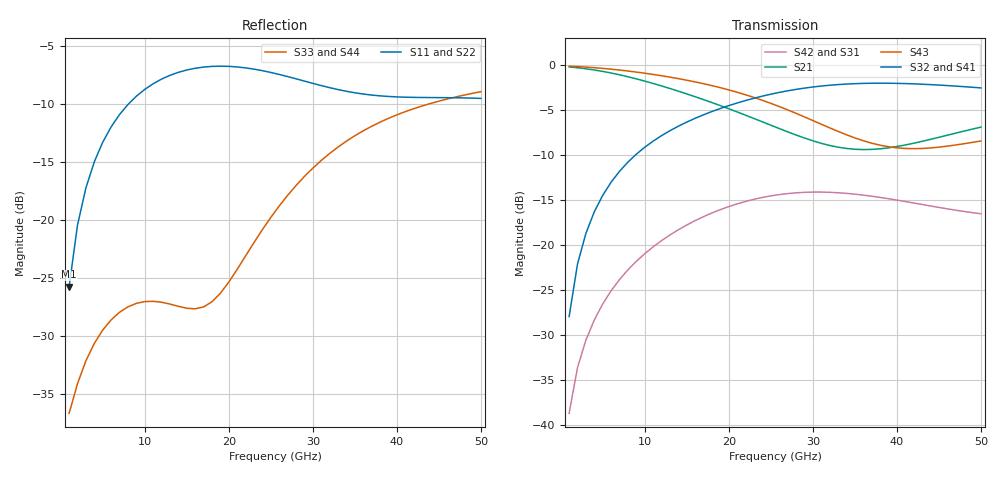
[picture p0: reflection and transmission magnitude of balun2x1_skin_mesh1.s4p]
! Created with skrf 2.1.0 (http://scikit-rf.org).
# GHz S DB R 50.0
! Port[1] = P1
! Port[2] = P2
! Port[3] = P3
! Port[4] = P4
!freq dBS11 angS11 dBS12 angS12 dBS13 angS13
! dBS14 angS14
! dBS21 angS21 dBS22 angS22 dBS23 angS23
! dBS24 angS24
! dBS31 angS31 dBS32 angS32 dBS33 angS33
! dBS34 angS34
! dBS41 angS41 dBS42 angS42 dBS43 angS43
! dBS44 angS44
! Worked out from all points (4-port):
!   50 points, 1 GHz to 50 GHz, reference 50 ohm
!   strongest paths, dB at 1 GHz, 13 GHz, 26 GHz, 38 GHz, 50 GHz:
!     S32: -28.0, -7.3, -3.0, -2.0, -2.5
!     S41: -28.0, -7.3, -3.1, -2.0, -2.6
!     S43: -0.1, -1.3, -4.6, -8.9, -8.4
!     S21: -0.2, -2.6, -7.1, -9.3, -6.9
!     S42: -38.7, -18.9, -14.4, -14.7, -16.5
!     S31: -38.7, -18.9, -14.5, -14.9, -16.7
!   lowest |S11| = -25.8 dB at 1 GHz (marker M1), VSWR 1.11, Z = 52.2 + j4.78 ohm
!   |S11| at or under -10 dB: start of sweep to 8.076 GHz
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1  -25.76 62.5  -0.21 -5.3  -38.71 -108.6  -27.95 84.6
   -0.21 -5.3  -25.76 62.4  -27.96 84.5  -38.71 -108.6
   -38.71 -108.6  -27.96 84.5  -36.67 25.7  -0.13 -2.6
   -27.95 84.6  -38.71 -108.6  -0.13 -2.6  -36.67 25.7
4  -14.99 60.9  -0.55 -19.8  -28.33 -134.5  -16.30 73.4
   -0.55 -19.8  -14.99 60.7  -16.30 73.4  -28.32 -134.7
   -28.33 -134.5  -16.30 73.4  -30.64 32.7  -0.29 -9.8
   -16.30 73.4  -28.32 -134.7  -0.29 -9.8  -30.61 32.8
9  -9.34 39.9  -1.54 -42.5  -21.83 -175.3  -9.91 56.0
   -1.54 -42.5  -9.35 39.5  -9.91 56.0  -21.81 -175.8
   -21.83 -175.3  -9.91 56.0  -27.19 7.2  -0.78 -20.9
   -9.91 56.0  -21.81 -175.8  -0.78 -20.9  -27.18 6.8
18  -6.77 6.0  -4.17 -81.9  -16.51 120.3  -5.17 29.2
    -4.17 -81.9  -6.80 5.2  -5.16 29.1  -16.44 119.4
    -16.51 120.3  -5.16 29.1  -27.06 -93.4  -2.29 -38.8
    -5.17 29.2  -16.44 119.4  -2.29 -38.8  -26.91 -94.5
28  -7.84 -18.5  -7.77 -136.4  -14.34 62.0  -2.72 0.8
    -7.77 -136.4  -7.97 -19.9  -2.71 0.6  -14.20 60.5
    -14.34 62.0  -2.71 0.6  -17.04 167.8  -5.37 -53.0
    -2.72 0.8  -14.20 60.5  -5.37 -53.0  -16.86 167.5
37  -9.24 -25.5  -9.38 158.4  -14.77 22.3  -2.05 -24.1
    -9.38 158.4  -9.52 -26.8  -2.02 -24.4  -14.58 20.0
    -14.77 22.3  -2.02 -24.4  -11.93 125.1  -8.68 -48.1
    -2.05 -24.1  -14.58 20.0  -8.68 -48.1  -11.77 124.8
50  -9.53 -35.9  -6.90 89.3  -16.68 -8.2  -2.58 -53.6
    -6.90 89.3  -9.86 -36.4  -2.54 -54.1  -16.52 -12.3
    -16.68 -8.2  -2.54 -54.1  -8.95 87.6  -8.44 -30.3
    -2.58 -53.6  -16.52 -12.3  -8.44 -30.3  -8.79 87.0
